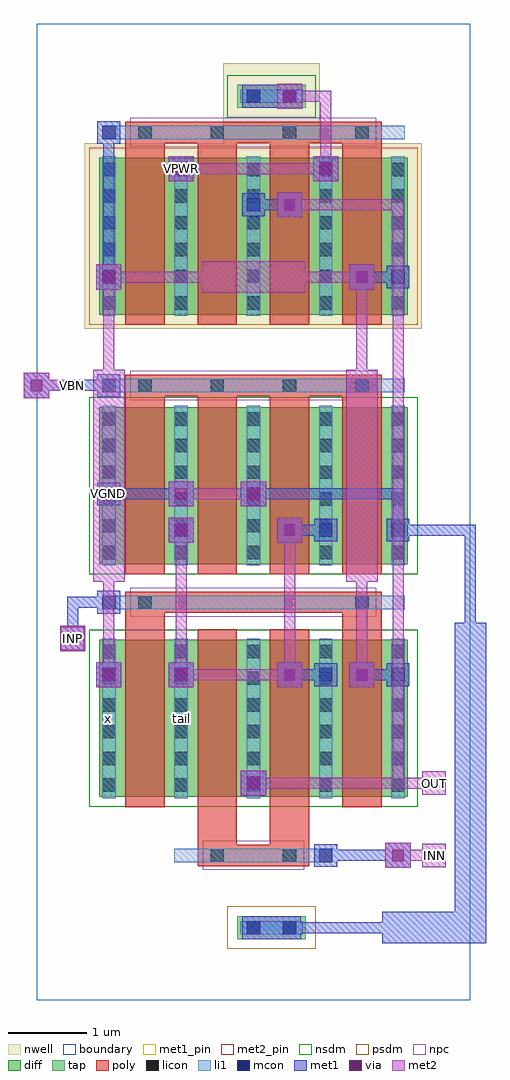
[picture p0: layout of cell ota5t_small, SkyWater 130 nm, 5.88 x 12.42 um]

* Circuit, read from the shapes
.subckt ota5t_small INN INP OUT VBN VGND VPWR tail x
XM1 tail INP x VGND sky130_fd_pr__nfet_01v8 w=2 l=0.5 m=2
XM2 tail VBN VGND VGND sky130_fd_pr__nfet_01v8 w=2 l=0.5 m=4
XM3 OUT INN tail VGND sky130_fd_pr__nfet_01v8 w=2 l=0.5 m=2
XM4 VPWR x x VPWR sky130_fd_pr__pfet_01v8 w=2 l=0.5 m=2
XM5 OUT x VPWR VPWR sky130_fd_pr__pfet_01v8 w=2 l=0.5 m=2
.ends

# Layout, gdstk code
import gdstk
lib = gdstk.Library(unit=1e-6, precision=1e-09)
def R(c, l, rs):  # rectangles x0, y0, x1, y1
    for r in rs: c.add(gdstk.rectangle(r[:2], r[2:], *l))
def A(c, l, x, y, w, h, nx, ny, dx, dy):  # array of equal rectangles
    R(c, l, [(x+i*dx, y+j*dy, x+i*dx+w, y+j*dy+h) for i in range(nx) for j in range(ny)])
nwell = (64, 20)
diff = (65, 20)
tap = (65, 44)
poly = (66, 20)
licon = (66, 44)
li1 = (67, 20)
mcon = (67, 44)
met1_pin = (68, 16)
met1 = (68, 20)
via = (68, 44)
met2_pin = (69, 16)
met2 = (69, 20)
nsdm = (93, 44)
psdm = (94, 20)
npc = (95, 20)
boundary = (235, 4)

ota5t_small = lib.new_cell('ota5t_small')
R(ota5t_small, nwell, [(0.615,8.54,4.905,10.9), (2.375,10.9,3.605,11.92)])
R(ota5t_small, diff, [(0.795,2.585,4.725,4.585), (0.795,5.545,4.725,7.545), (0.795,8.72,4.725,10.72)])
R(ota5t_small, tap, [(2.555,0.775,3.425,1.065), (2.555,11.355,3.425,11.645)])
A(ota5t_small, poly, 1.13, 5.415, 0.5, 2.405, 4, 1, 0.92, 0)
A(ota5t_small, poly, 1.13, 8.59, 0.5, 2.45, 4, 1, 0.92, 0)
R(ota5t_small, poly, [(2.05,1.705,3.47,1.975), (2.05,1.84,2.55,4.715), (2.97,1.84,3.47,4.715), (1.13,2.455,1.63,5.06), (3.89,2.455,4.39,5.06), (1.13,4.925,4.39,5.195), (1.13,7.685,4.39,7.955), (1.13,10.905,4.39,11.175)])
A(ota5t_small, licon, 0.835, 2.65, 0.17, 0.17, 5, 6, 0.92, 0.34)
A(ota5t_small, licon, 0.835, 5.61, 0.17, 0.17, 5, 6, 0.92, 0.34)
A(ota5t_small, licon, 1.295, 7.735, 0.17, 0.17, 4, 2, 0.92, 3.22)
A(ota5t_small, licon, 0.835, 8.785, 0.17, 0.17, 5, 6, 0.92, 0.34)
R(ota5t_small, licon, [(2.675,0.835,2.845,1.005), (3.135,0.835,3.305,1.005), (2.215,1.755,2.385,1.925), (3.135,1.755,3.305,1.925), (1.295,4.975,1.465,5.145), (4.055,4.975,4.225,5.145), (2.675,11.415,2.845,11.585), (3.135,11.415,3.305,11.585)])
A(ota5t_small, li1, 0.835, 2.57, 0.17, 2.03, 5, 2, 0.92, 2.96)
A(ota5t_small, li1, 0.835, 8.705, 0.17, 2.03, 5, 1, 0.92, 0)
R(ota5t_small, li1, [(2.595,0.835,3.385,1.005), (1.755,1.755,3.765,1.925), (0.835,4.975,4.685,5.145), (0.835,7.735,4.685,7.905), (0.835,10.955,4.685,11.125), (2.595,11.415,3.385,11.585)])
A(ota5t_small, mcon, 2.675, 2.675, 0.17, 0.17, 1, 3, 0, 3.68)
A(ota5t_small, mcon, 0.835, 4.975, 0.17, 0.17, 1, 4, 0, 1.38)
R(ota5t_small, mcon, [(2.675,0.835,2.845,1.005), (3.135,0.835,3.305,1.005), (3.595,1.755,3.765,1.925), (0.835,4.055,1.005,4.225), (1.755,4.055,1.925,4.225), (3.595,4.055,3.765,4.225), (4.515,4.055,4.685,4.225), (1.755,5.895,1.925,6.065), (3.595,5.895,3.765,6.065), (4.515,5.895,4.685,6.065), (4.515,9.115,4.685,9.285), (1.755,10.495,1.925,10.665), (3.595,10.495,3.765,10.665), (0.835,10.955,1.005,11.125), (2.675,11.415,2.845,11.585), (3.135,11.415,3.305,11.585)])
R(ota5t_small, met1_pin, [(0.775,6.295,1.065,6.585), (1.695,10.435,1.985,10.725)])
A(ota5t_small, met1, 2.615, 2.615, 0.29, 0.29, 1, 3, 0, 3.68)
A(ota5t_small, met1, 0.775, 4.915, 0.29, 0.29, 1, 4, 0, 1.38)
R(ota5t_small, met1, [(4.4,0.72,5.72,1.12), (5.32,0.72,5.72,4.8), (2.615,0.775,3.365,1.065), (3.15,0.85,3.29,0.99), (3.15,0.85,4.67,0.99), (4.44,1.68,4.76,2), (3.535,1.695,3.825,1.985), (3.61,1.77,4.67,1.91), (2.6,2.6,2.92,2.92), (0.76,3.98,1.08,4.3), (1.68,3.98,2,4.3), (3.06,3.98,3.38,4.3), (3.98,3.98,4.3,4.3), (0.775,3.995,1.065,4.285), (1.695,3.995,1.985,4.285), (3.535,3.995,3.825,4.285), (4.455,3.995,4.745,4.285), (3.15,4.07,3.75,4.21), (4.07,4.07,4.67,4.21), (0.3,4.44,0.62,4.76), (0.39,4.53,0.53,5.13), (5.45,4.53,5.59,6.05), (0.39,4.99,0.99,5.13), (1.68,5.82,2,6.14), (3.06,5.82,3.38,6.14), (1.695,5.835,1.985,6.125), (3.535,5.835,3.825,6.125), (4.455,5.835,4.745,6.125), (3.15,5.91,3.75,6.05), (4.53,5.91,5.59,6.05), (4.53,5.91,4.67,6.51), (1.68,6.28,2,6.6), (2.6,6.28,2.92,6.6), (0.85,6.37,1.91,6.51), (2.69,6.37,4.67,6.51), (-0.16,7.66,0.16,7.98), (-0.07,7.75,0.99,7.89), (0.76,9.04,1.08,9.36), (3.98,9.04,4.3,9.36), (4.455,9.055,4.745,9.345), (0.85,9.13,0.99,11.11), (4.07,9.13,4.67,9.27), (3.06,9.96,3.38,10.28), (2.69,10.05,3.29,10.19), (1.68,10.42,2,10.74), (3.52,10.42,3.84,10.74), (1.695,10.435,1.985,10.725), (3.535,10.435,3.825,10.725), (0.775,10.895,1.065,11.185), (3.06,11.34,3.38,11.66), (2.615,11.355,3.365,11.645), (3.15,11.43,3.29,11.57)])
R(ota5t_small, via, [(4.525,1.765,4.675,1.915), (2.685,2.685,2.835,2.835), (0.845,4.065,0.995,4.215), (1.765,4.065,1.915,4.215), (3.145,4.065,3.295,4.215), (4.065,4.065,4.215,4.215), (0.385,4.525,0.535,4.675), (1.765,5.905,1.915,6.055), (3.145,5.905,3.295,6.055), (1.765,6.365,1.915,6.515), (2.685,6.365,2.835,6.515), (-0.075,7.745,0.075,7.895), (0.845,9.125,0.995,9.275), (4.065,9.125,4.215,9.275), (3.145,10.045,3.295,10.195), (1.765,10.505,1.915,10.655), (3.605,10.505,3.755,10.655), (3.145,11.425,3.295,11.575)])
R(ota5t_small, met2_pin, [(4.91,1.69,5.21,1.99), (4.91,2.61,5.21,2.91), (0.31,4.45,0.61,4.75), (0.39,7.75,0.53,7.89)])
R(ota5t_small, met2, [(4.44,1.68,4.76,2), (4.91,1.69,5.21,1.99), (4.53,1.77,5.13,1.91), (4.99,1.77,5.13,1.91), (2.6,2.6,2.92,2.92), (4.91,2.61,5.21,2.91), (2.69,2.69,5.13,2.83), (4.53,2.69,4.67,10.19), (4.99,2.69,5.13,2.83), (0.76,3.98,1.08,4.3), (1.68,3.98,2,4.3), (3.06,3.98,3.38,4.3), (3.98,3.98,4.3,4.3), (0.85,4.07,0.99,5.59), (1.77,4.07,1.91,6.05), (1.77,4.07,3.29,4.21), (3.15,4.07,3.29,6.05), (4.07,4.07,4.21,5.59), (0.3,4.44,0.62,4.76), (0.31,4.45,0.61,4.75), (0.39,4.53,0.53,4.67), (0.72,5.32,1.12,8.02), (3.94,5.32,4.34,8.02), (1.68,5.82,2,6.14), (3.06,5.82,3.38,6.14), (1.68,6.28,2,6.6), (2.6,6.28,2.92,6.6), (1.77,6.37,2.83,6.51), (-0.16,7.66,0.16,7.98), (-0.07,7.75,0.53,7.89), (0.39,7.75,0.53,7.89), (0.85,7.75,0.99,9.27), (4.07,7.75,4.21,9.27), (2.1,9,3.42,9.4), (0.76,9.04,1.08,9.36), (3.98,9.04,4.3,9.36), (0.85,9.13,2.37,9.27), (3.15,9.13,4.21,9.27), (3.06,9.96,3.38,10.28), (3.15,10.05,4.67,10.19), (1.68,10.42,2,10.74), (3.52,10.42,3.84,10.74), (1.77,10.51,3.75,10.65), (3.61,10.51,3.75,11.57), (3.06,11.34,3.38,11.66), (3.15,11.43,3.75,11.57)])
R(ota5t_small, nsdm, [(0.67,2.46,4.85,4.71), (0.67,5.42,4.85,7.67), (2.43,11.23,3.55,11.77)])
R(ota5t_small, psdm, [(2.43,0.65,3.55,1.19), (0.67,8.595,4.85,10.845)])
R(ota5t_small, npc, [(2.115,1.655,3.405,2.025), (1.195,4.875,4.325,5.245), (1.195,7.635,4.325,8.005), (1.195,10.855,4.325,11.225)])
R(ota5t_small, boundary, [(0,0,5.52,12.42)])
ota5t_small.add(gdstk.Label('x', (0.92,3.585), layer=67, texttype=5))
ota5t_small.add(gdstk.Label('tail', (1.84,3.585), layer=67, texttype=5))
ota5t_small.add(gdstk.Label('VPWR', (1.84,10.58), layer=68, texttype=5))
ota5t_small.add(gdstk.Label('VGND', (0.92,6.44), layer=68, texttype=5))
ota5t_small.add(gdstk.Label('INP', (0.46,4.6), layer=69, texttype=5))
ota5t_small.add(gdstk.Label('INN', (5.06,1.84), layer=69, texttype=5))
ota5t_small.add(gdstk.Label('VBN', (0.46,7.82), layer=69, texttype=5))
ota5t_small.add(gdstk.Label('OUT', (5.06,2.76), layer=69, texttype=5))
ota5t_small.add(gdstk.Label('VPWR', (1.84,10.58), layer=68, texttype=16))
ota5t_small.add(gdstk.Label('VGND', (0.92,6.44), layer=68, texttype=16))
ota5t_small.add(gdstk.Label('INP', (0.46,4.6), layer=69, texttype=16))
ota5t_small.add(gdstk.Label('INN', (5.06,1.84), layer=69, texttype=16))
ota5t_small.add(gdstk.Label('VBN', (0.46,7.82), layer=69, texttype=16))
ota5t_small.add(gdstk.Label('OUT', (5.06,2.76), layer=69, texttype=16))

lib.write_gds('ota5t_small.gds')
